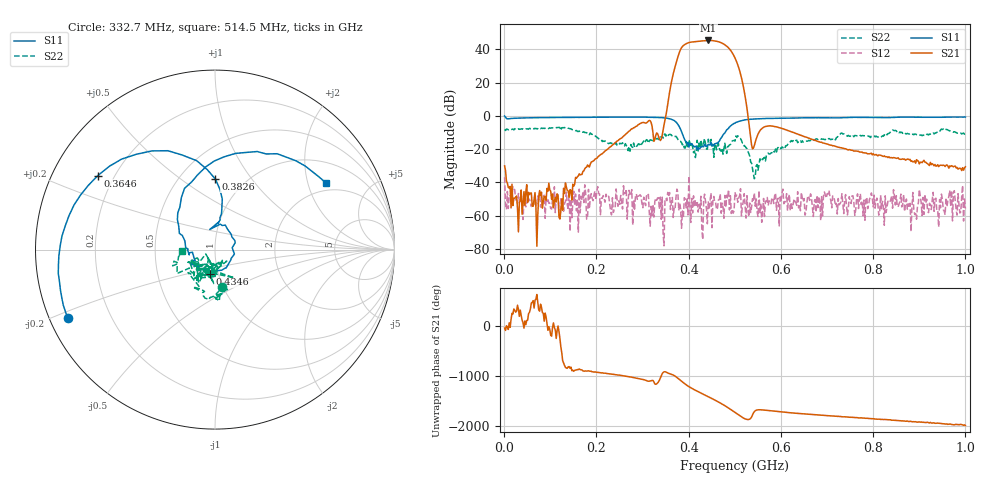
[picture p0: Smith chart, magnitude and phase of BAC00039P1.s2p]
!measured: 2026-10-27T15:29:15
!cal_instance: BBtestOct27
!cal_created: 2026-10-27T14:45
!cal_file: BBtesting.cal
!port1_delay_ps: -58.63
!port2_delay_ps: -59.31
!host: dhcp-10-250-247-203.harvard.edu
! Created with skrf 2.1.0 (http://scikit-rf.org).
# Hz S RI R 50.0
!freq ReS11 ImS11 ReS21 ImS21 ReS12 ImS12 ReS22 ImS22
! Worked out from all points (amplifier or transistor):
!   501 points, 1 MHz to 1 GHz, reference 50 ohm
!   highest |S21| = 45.3 dB at 442.6 MHz (marker M1)
!   |S21| within 3 dB of that: 389 MHz to 480.6 MHz (91.66 MHz wide, 21.1 % of centre)
!   unconditionally stable (mu >= 1): start of sweep to 400.2 MHz; 401.3 MHz to 448 MHz; 486.7 MHz to end of sweep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
!   at 166.8 MHz: K = 1212.35, MAG = -27.3 dB, |S12| = -48.4 dB
!   at 500.5 MHz: K = 1.20, MAG = 37.6 dB, |S12| = -45.9 dB
!   at 1 GHz: K = 1383.37, MAG = -21.9 dB, |S12| = -55.7 dB
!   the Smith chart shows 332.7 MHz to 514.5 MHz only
!   S11 on the Smith chart (normalised r, x): 332.7 MHz: 0.05, -0.22; 364.6 MHz: 0.14, +0.28; 382.6 MHz: 0.73, +0.68; 434.6 MHz: 0.91, -0.25; 514.5 MHz: 1.71, +2.64
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1000000  -0.4245 0.8973  0.0249 -0.0192  -0.0141 -0.00239  0.3928 -0.00241
1.68832e8  0.4976 -0.7598  -0.0163 -0.00639  -0.00283 0.00074  -0.0137 -0.3297
3.32668e8  -0.8191 -0.3833  0.1498 -0.2516  -0.00183 -0.00291  0.0408 -0.2081
3.34666e8  -0.8318 -0.35  0.1985 -0.1446  0.000431 -0.00346  0.0646 -0.1846
3.64636e8  -0.6528 0.4125  -4.378 13.32  -0.00246 -0.00254  -0.0692 -0.2398
3.74626e8  -0.2623 0.5508  30.51 36.63  -0.00327 0.00538  -0.0891 -0.2044
3.82618e8  0.00192 0.3931  98.33 -16.91  -0.00161 1.97e-05  -0.1238 -0.119
3.88612e8  0.0387 0.2388  76.67 -104.8  0.000821 0.000378  -0.1323 -0.0609
3.96604e8  0.016 0.1463  -49.35 -144.1  0.000556 0.00341  -0.0671 -0.087
4.1059e8  0.0904 0.0851  -167.9 17.87  -0.00178 -0.00355  -0.00639 -0.0783
4.22578e8  0.0894 -0.05  -76.77 158.4  -0.00177 -0.0013  -0.0209 -0.1496
4.34566e8  -0.0304 -0.137  87.05 159.3  0.000702 -0.0044  -0.0916 -0.1864
4.42558e8  -0.0961 -0.1013  167.4 78.7  0.00117 -0.00246  -0.1022 -0.171
4.52548e8  -0.1122 -0.0617  169.6 -67.36  -0.0012 0.00251  0.0143 -0.1395
4.64536e8  -0.1633 0.0107  27.2 -167.3  -0.00296 -0.00031  -0.0166 -0.1481
4.8052e8  -0.1871 0.2908  -127.9 -29.76  -0.00178 -1.88e-05  -0.019 -0.0953
4.9051e8  -0.00464 0.4934  -64.68 69.52  -0.00359 0.00177  -0.0275 -0.1346
5.005e8  0.2858 0.5328  19.71 51.46  0.000974 -0.005  -0.1424 -0.1029
5.14486e8  0.6211 0.3686  13.23 -4.974  0.000981 0.00013  -0.1833 -0.00866
6.68332e8  0.0602 -0.8773  0.174 0.087  0.000734 0.00162  0.0402 -0.1784
8.34166e8  -0.586 -0.6753  0.0105 -0.0584  0.00245 0.000623  -0.1683 -0.245
1e9  -0.8833 -0.2685  -0.0288 0.0064  -0.000892 0.00138  -0.2377 -0.18
